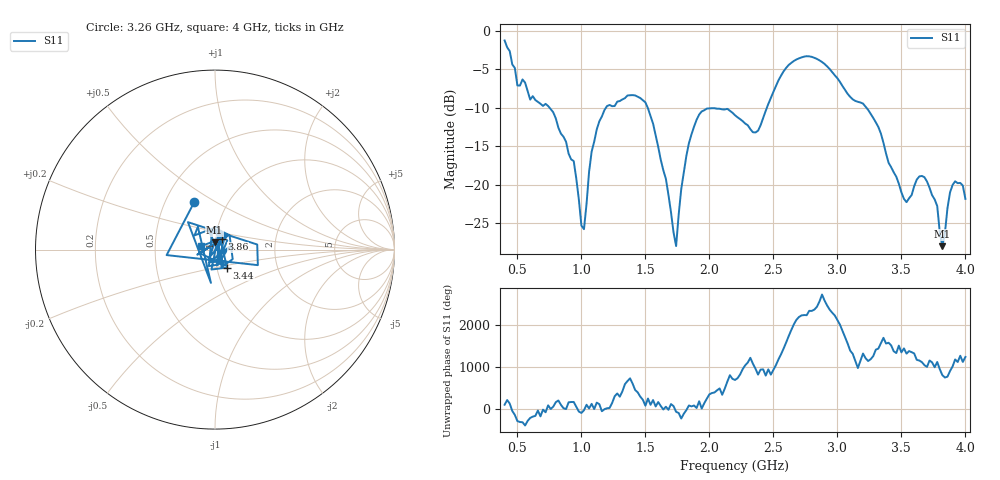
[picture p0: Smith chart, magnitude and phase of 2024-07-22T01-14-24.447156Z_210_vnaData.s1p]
!Created with skrf (http://scikit-rf.org).
# Hz S RI R 50.0
!freq ReS11 ImS11
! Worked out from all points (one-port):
!   181 points, 400 MHz to 4 GHz, reference 50 ohm
!   lowest |S11| = -28.0 dB at 3.82 GHz (marker M1), VSWR 1.08, Z = 49.6 + j3.95 ohm
!   |S11| at or under -10 dB: 750.8 MHz to 1.192 GHz (441.3 MHz wide, 45.4 % of centre); 1.518 GHz to 2.449 GHz (931.3 MHz wide, 47 % of centre); 3.227 GHz to end of sweep
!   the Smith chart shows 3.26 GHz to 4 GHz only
!   S11 on the Smith chart (normalised r, x): 3.26 GHz: 0.70, +0.40; 3.44 GHz: 1.12, -0.23; 3.86 GHz: 1.07, +0.13; 4 GHz: 0.85, +0.03
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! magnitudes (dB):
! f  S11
! 400 MHz  -1.3
! 500 MHz  -7.1
! 860 MHz  -13.8
! 940 MHz  -16.9
! 1.02 GHz  -25.8
! 1.08 GHz  -15.7
! 1.12 GHz  -12.8
! 1.3 GHz  -9.1
! 1.5 GHz  -9.3
! 1.66 GHz  -19.2
! 1.74 GHz  -28.0
! 1.76 GHz  -23.9
! 1.84 GHz  -14.6
! 1.92 GHz  -10.9
! 2.2 GHz  -11.0
! 2.38 GHz  -13.0
! 2.66 GHz  -3.9
! 2.86 GHz  -3.9
! 3.1 GHz  -8.6
! 3.26 GHz  -10.8
! 3.44 GHz  -18.4
! 3.56 GHz  -21.8
! 3.68 GHz  -19.0
! 3.78 GHz  -22.8
! 3.82 GHz  -28.0
! 3.86 GHz  -23.0
! 3.92 GHz  -19.6
! 4 GHz  -21.8
